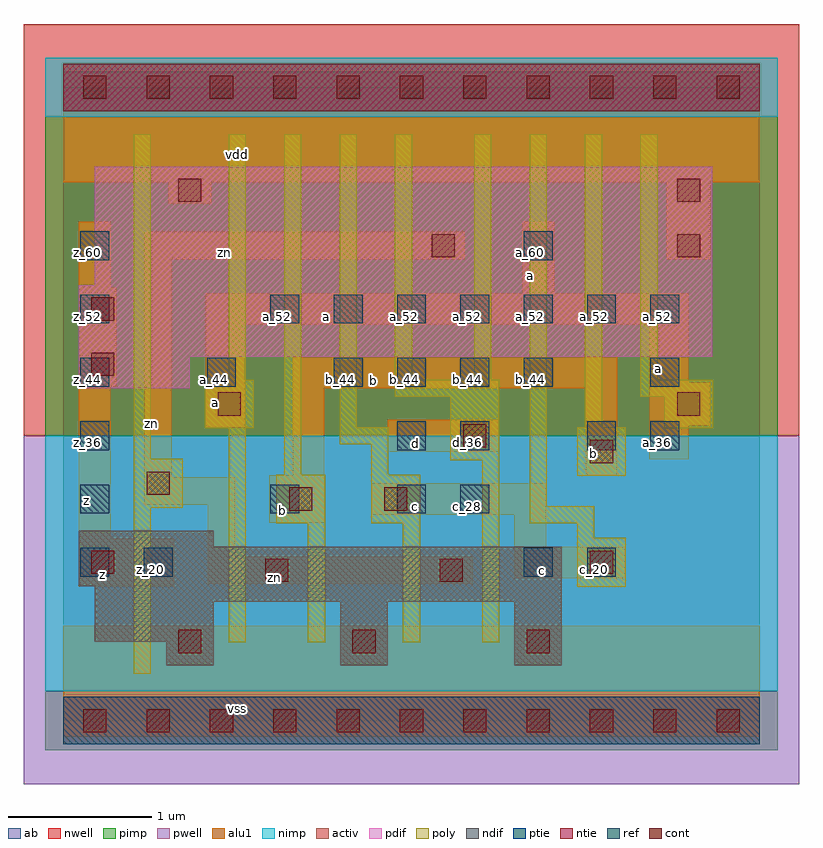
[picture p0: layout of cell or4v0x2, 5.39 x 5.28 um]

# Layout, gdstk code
import gdstk
lib = gdstk.Library(unit=1e-6, precision=2.5e-09)
def R(c, l, rs):  # rectangles x0, y0, x1, y1
    for r in rs: c.add(gdstk.rectangle(r[:2], r[2:], *l))
def A(c, l, x, y, w, h, nx, ny, dx, dy):  # array of equal rectangles
    R(c, l, [(x+i*dx, y+j*dy, x+i*dx+w, y+j*dy+h) for i in range(nx) for j in range(ny)])
ndif = (3, 0)
pdif = (4, 0)
ntie = (5, 0)
ptie = (6, 0)
ref = (24, 0)
cont = (25, 0)
pwell = (41, 0)
nwell = (42, 0)
activ = (43, 0)
pimp = (44, 0)
nimp = (45, 0)
poly = (46, 0)
alu1 = (49, 0)
ab = (63, 0)

or4v0x2 = lib.new_cell('or4v0x2')
R(or4v0x2, ndif, [(0.715,0.385,1.045,0.55), (1.925,0.385,2.255,0.825), (3.135,0.385,3.465,0.825), (0.22,0.55,1.045,0.825), (0.22,0.825,3.465,0.935), (0.11,0.935,3.465,1.21), (0.11,1.21,1.045,1.32)])
R(or4v0x2, pdif, [(0.11,2.31,0.88,2.53), (0.11,2.53,4.51,3.025), (0.22,3.025,4.51,3.85)])
R(or4v0x2, ntie, [(0,4.235,4.84,4.565)])
R(or4v0x2, ptie, [(0,-0.165,4.84,0.165)])
A(or4v0x2, ref, 0.12, 1, 0.2, 0.2, 1, 3, 0, 0.44)
A(or4v0x2, ref, 0.12, 2.32, 0.2, 0.2, 3, 1, 0.88, 0)
A(or4v0x2, ref, 2.32, 2.32, 0.2, 0.2, 3, 1, 0.44, 0)
A(or4v0x2, ref, 1.44, 2.76, 0.2, 0.2, 7, 1, 0.44, 0)
R(or4v0x2, ref, [(0.56,1,0.76,1.2), (3.2,1,3.4,1.2), (3.64,1,3.84,1.2), (1.44,1.44,1.64,1.64), (2.32,1.44,2.52,1.64), (2.76,1.44,2.96,1.64), (2.32,1.88,2.52,2.08), (2.76,1.88,2.96,2.08), (3.64,1.88,3.84,2.08), (4.08,1.88,4.28,2.08), (4.08,2.32,4.28,2.52), (0.12,2.76,0.32,2.96), (0.12,3.2,0.32,3.4), (3.2,3.2,3.4,3.4)])
A(or4v0x2, cont, 0.14, -0.08, 0.16, 0.16, 11, 2, 0.44, 4.4)
A(or4v0x2, cont, 0.8, 0.47, 0.16, 0.16, 3, 1, 1.21, 0)
R(or4v0x2, cont, [(1.405,0.965,1.565,1.125), (2.615,0.965,2.775,1.125), (0.195,1.02,0.355,1.18), (3.66,1.02,3.82,1.18), (1.57,1.46,1.73,1.62), (2.23,1.46,2.39,1.62), (0.58,1.57,0.74,1.73), (3.66,1.79,3.82,1.95), (2.78,1.9,2.94,2.06), (1.075,2.12,1.235,2.28), (4.265,2.12,4.425,2.28), (0.195,2.395,0.355,2.555), (0.195,2.78,0.355,2.94), (2.56,3.22,2.72,3.38), (4.265,3.22,4.425,3.38), (0.8,3.605,0.96,3.765), (4.265,3.605,4.425,3.765)])
R(or4v0x2, pwell, [(-0.275,-0.44,5.115,1.98)])
R(or4v0x2, nwell, [(-0.275,1.98,5.115,4.84)])
R(or4v0x2, activ, [(0,-0.165,4.84,0.165), (0.715,0.385,1.045,0.55), (1.925,0.385,2.255,0.825), (3.135,0.385,3.465,0.825), (0.22,0.55,1.045,0.825), (0.22,0.825,3.465,0.935), (0.11,0.935,3.465,1.21), (0.11,1.21,1.045,1.32), (0.11,2.31,0.88,2.53), (0.11,2.53,4.51,3.025), (0.22,3.025,4.51,3.85), (0,4.235,4.84,4.565)])
R(or4v0x2, pimp, [(-0.125,-0.205,4.965,0.205), (-0.125,1.98,4.965,4.195)])
R(or4v0x2, nimp, [(-0.125,0.205,4.965,1.98), (-0.125,4.195,4.965,4.605)])
R(or4v0x2, poly, [(0.49,0.325,0.61,1.48), (1.15,0.545,1.27,2.03), (1.7,0.545,1.82,1.37), (2.36,0.545,2.48,1.37), (2.91,0.545,3.03,1.81), (3.57,0.93,3.91,1.27), (3.57,1.27,3.69,1.37), (1.48,1.37,1.82,1.71), (2.14,1.37,2.48,1.71), (3.24,1.37,3.69,1.49), (0.49,1.48,0.83,1.82), (3.24,1.49,3.36,4.075), (3.57,1.7,3.91,2.04), (1.535,1.71,1.655,4.075), (2.14,1.71,2.26,1.92), (2.69,1.81,3.03,2.25), (0.49,1.82,0.61,4.075), (1.92,1.92,2.26,2.04), (0.985,2.03,1.325,2.37), (4.175,2.03,4.515,2.25), (1.92,2.04,2.04,4.075), (3.625,2.04,3.745,4.075), (2.305,2.25,3.03,2.37), (4.01,2.25,4.515,2.37), (1.15,2.37,1.27,4.075), (2.305,2.37,2.425,4.075), (2.855,2.37,2.975,4.075), (4.01,2.37,4.13,4.075)])
R(or4v0x2, alu1, [(0,-0.11,4.84,0.66), (0.11,0.935,0.77,1.265), (1.005,0.95,2.845,1.14), (3.135,0.99,3.905,1.21), (1.005,1.14,1.195,1.5), (3.135,1.21,3.355,1.43), (0.11,1.265,0.33,2.325), (1.43,1.375,1.815,1.705), (2.145,1.43,3.355,1.65), (0.565,1.5,1.195,1.69), (0.565,1.69,0.755,3.205), (1.595,1.705,1.815,2.31), (3.63,1.705,3.85,2.31), (4.07,1.815,4.345,2.05), (2.255,1.87,3.025,2.09), (0.99,2.035,1.265,2.75), (4.07,2.05,4.495,2.35), (1.595,2.31,3.85,2.53), (0.11,2.325,0.37,3.01), (4.07,2.35,4.345,2.75), (0.99,2.75,4.345,2.97), (3.19,2.97,3.41,3.465), (0.11,3.01,0.33,3.465), (0.565,3.205,2.79,3.395), (4.195,3.205,4.495,3.74), (0.73,3.59,1.03,3.74), (0,3.74,4.84,4.51)])
R(or4v0x2, ab, [(0,0,4.84,4.4)])
or4v0x2.add(gdstk.Label('vss', (1.21,0.0825), layer=49, texttype=0))
or4v0x2.add(gdstk.Label('c', (3.3275,1.045), layer=49, texttype=0))
or4v0x2.add(gdstk.Label('zn', (1.465,0.9975), layer=49, texttype=0))
or4v0x2.add(gdstk.Label('c', (2.4475,1.485), layer=49, texttype=0))
or4v0x2.add(gdstk.Label('b', (1.525,1.4575), layer=49, texttype=0))
or4v0x2.add(gdstk.Label('z', (0.275,1.0175), layer=49, texttype=0))
or4v0x2.add(gdstk.Label('a', (4.1375,2.45), layer=49, texttype=0))
or4v0x2.add(gdstk.Label('b', (3.685,1.855), layer=49, texttype=0))
or4v0x2.add(gdstk.Label('d', (2.4475,1.925), layer=49, texttype=0))
or4v0x2.add(gdstk.Label('b', (2.1575,2.365), layer=49, texttype=0))
or4v0x2.add(gdstk.Label('a', (1.0575,2.2125), layer=49, texttype=0))
or4v0x2.add(gdstk.Label('a', (1.8275,2.805), layer=49, texttype=0))
or4v0x2.add(gdstk.Label('a', (3.245,3.0925), layer=49, texttype=0))
or4v0x2.add(gdstk.Label('zn', (0.6125,2.0675), layer=49, texttype=0))
or4v0x2.add(gdstk.Label('z', (0.165,1.53), layer=49, texttype=0))
or4v0x2.add(gdstk.Label('zn', (1.12,3.2525), layer=49, texttype=0))
or4v0x2.add(gdstk.Label('vdd', (1.21,3.9325), layer=49, texttype=0))
or4v0x2.add(gdstk.Label('z_20', (0.61,1.05), layer=24, texttype=0))
or4v0x2.add(gdstk.Label('a_44', (1.05,2.37), layer=24, texttype=0))
or4v0x2.add(gdstk.Label('b_28', (1.49,1.49), layer=24, texttype=0))
or4v0x2.add(gdstk.Label('a_52', (1.49,2.81), layer=24, texttype=0))
or4v0x2.add(gdstk.Label('b_44', (1.93,2.37), layer=24, texttype=0))
or4v0x2.add(gdstk.Label('a_52', (1.93,2.81), layer=24, texttype=0))
or4v0x2.add(gdstk.Label('z_20', (0.17,1.05), layer=24, texttype=0))
or4v0x2.add(gdstk.Label('z_28', (0.17,1.49), layer=24, texttype=0))
or4v0x2.add(gdstk.Label('z_36', (0.17,1.93), layer=24, texttype=0))
or4v0x2.add(gdstk.Label('z_44', (0.17,2.37), layer=24, texttype=0))
or4v0x2.add(gdstk.Label('z_52', (0.17,2.81), layer=24, texttype=0))
or4v0x2.add(gdstk.Label('z_60', (0.17,3.25), layer=24, texttype=0))
or4v0x2.add(gdstk.Label('c_28', (2.37,1.49), layer=24, texttype=0))
or4v0x2.add(gdstk.Label('d_36', (2.37,1.93), layer=24, texttype=0))
or4v0x2.add(gdstk.Label('b_44', (2.37,2.37), layer=24, texttype=0))
or4v0x2.add(gdstk.Label('a_52', (2.37,2.81), layer=24, texttype=0))
or4v0x2.add(gdstk.Label('c_28', (2.81,1.49), layer=24, texttype=0))
or4v0x2.add(gdstk.Label('d_36', (2.81,1.93), layer=24, texttype=0))
or4v0x2.add(gdstk.Label('b_44', (2.81,2.37), layer=24, texttype=0))
or4v0x2.add(gdstk.Label('a_52', (2.81,2.81), layer=24, texttype=0))
or4v0x2.add(gdstk.Label('c_20', (3.25,1.05), layer=24, texttype=0))
or4v0x2.add(gdstk.Label('b_44', (3.25,2.37), layer=24, texttype=0))
or4v0x2.add(gdstk.Label('a_52', (3.25,2.81), layer=24, texttype=0))
or4v0x2.add(gdstk.Label('a_60', (3.25,3.25), layer=24, texttype=0))
or4v0x2.add(gdstk.Label('c_20', (3.69,1.05), layer=24, texttype=0))
or4v0x2.add(gdstk.Label('b_36', (3.69,1.93), layer=24, texttype=0))
or4v0x2.add(gdstk.Label('a_52', (3.69,2.81), layer=24, texttype=0))
or4v0x2.add(gdstk.Label('a_36', (4.13,1.93), layer=24, texttype=0))
or4v0x2.add(gdstk.Label('a_44', (4.13,2.37), layer=24, texttype=0))
or4v0x2.add(gdstk.Label('a_52', (4.13,2.81), layer=24, texttype=0))

lib.write_gds('or4v0x2.gds')
